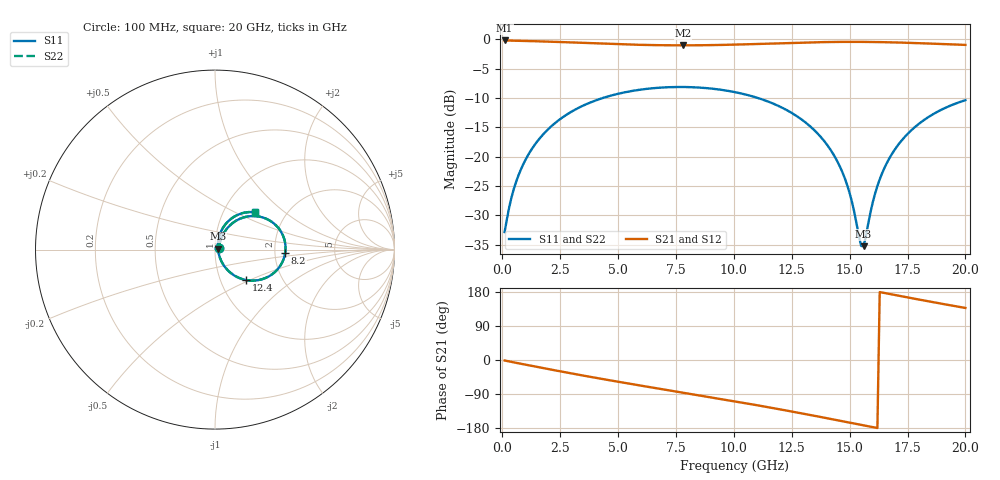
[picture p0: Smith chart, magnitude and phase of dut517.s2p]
! Touchstone file exported from HFSS 2026.1.0
!  File:  C:/ffzhzh/LocalFiles/Ansys_Project_Files/temp_train_TSV_RDL_517_1783109839_46604.aedt
!  Generated:  04:28:48 AM Jul  4, 2026
!  Design:  TSV_RDL
!  Project:  temp_train_TSV_RDL_517_1783109839_46604
! Variables:
!  h_bsmrdl = 3.01um
!  h_ox = 20um
!  h_rdl = 5um
!  h_sub = 79.17um
!  h_tmrdl = 2.24um
!  h_tsv = 79.17um
!  h_via = 3um
!  l_bsmrdl = 660.6um
!  l_sub = 3641um
!  l_tmrdl = 278.71um
!  m_sub = 200um
!  pitch = 40.78um
!  r_tsv = 5.35um
!  s_tmrdl = 10um
!  w_bsmrdl = 28.25um
!  w_sub = 500um
!  w_tmrdl = 19.87um
!  x_tsv_center1 = 288.645um
!  x_tsv_center2 = 977.495um
!  x_tsv_center3 = 1276.075um
!  x_tsv_center4 = 1964.925um
!  x_tsv_center5 = 2263.505um
!  x_tsv_center6 = 2952.355um
# GHz S MA R 50.000000
! Terminal data exported
! Port[1] = TM_RDL1_1_T1
! Port[2] = TM_RDL5_1_T1
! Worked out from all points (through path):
!   200 points, 100 MHz to 20 GHz, reference 50 ohm
!   highest |S21| = -0.18 dB at 100 MHz (marker M1); lowest = -1.0 dB at 7.8 GHz (marker M2)
!   group delay of S21, straight-line fit = 30.5 ps
!   lowest |S11| = -35.2 dB at 15.6 GHz (marker M3), VSWR 1.04, Z = 51.7 + j0.569 ohm
!   |S11| at or under -10 dB: start of sweep to 4.329 GHz; 11.05 GHz to end of sweep
!   |S22| runs from -35.2 to -8.1 dB; largest |S21 - S12| = 5.1e-14
!   S11 on the Smith chart (normalised r, x): 100 MHz: 1.04, +0.02; 8.2 GHz: 2.28, -0.10; 12.4 GHz: 1.32, -0.48; 20 GHz: 1.40, +0.64
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0.1  0.02282 26.0  0.9797 -1.3  0.9797 -1.3  0.02282 26.0
! Gamma 0 0 0 0
! Port Impedance 50 0 50 0
0.5  0.05331 57.3  0.9749 -6.3  0.9749 -6.3  0.05331 57.3
1.2  0.1103 61.7  0.9675 -14.6  0.9675 -14.6  0.1103 61.7
2.2  0.188 55.2  0.9546 -26.4  0.9546 -26.4  0.188 55.2
3.5  0.2733 43.0  0.9336 -41.2  0.9336 -41.2  0.2733 43.1
5.1  0.3477 27.3  0.9089 -58.4  0.9089 -58.4  0.3477 27.3
6.8  0.3879 10.8  0.8927 -75.9  0.8927 -75.9  0.3879 10.8
7.8  0.3931 1.1  0.8901 -86.1  0.8901 -86.1  0.3931 1.1
8.2  0.3914 -2.8  0.8906 -90.1  0.8906 -90.1  0.3914 -2.7
10.1  0.3537 -21.3  0.9035 -109.7  0.9035 -109.7  0.3537 -21.3
12.4  0.2426 -44.4  0.9328 -134.8  0.9328 -134.8  0.2426 -44.4
13.4  0.174 -54.0  0.9443 -146.3  0.9443 -146.3  0.174 -54.0
14.1  0.1206 -59.6  0.95 -154.5  0.95 -154.5  0.1206 -59.5
14.7  0.07286 -61.1  0.9527 -161.7  0.9527 -161.7  0.07285 -61.0
15.1  0.0413 -55.1  0.9532 -166.4  0.9532 -166.4  0.04131 -55.0
15.5  0.01736 -8.2  0.9527 -171.2  0.9527 -171.2  0.01742 -8.0
15.6  0.0173 18.6  0.9524 -172.4  0.9524 -172.4  0.01736 18.6
16.1  0.04856 69.0  0.95 -178.4  0.95 -178.4  0.04861 69.0
16.7  0.09567 72.2  0.9451 174.5  0.9451 174.5  0.09571 72.3
17.3  0.1416 68.7  0.9383 167.5  0.9383 167.5  0.1416 68.8
18  0.1915 62.7  0.9286 159.4  0.9286 159.4  0.1915 62.7
20  0.3035 43.2  0.898 137.3  0.898 137.3  0.3036 43.3
